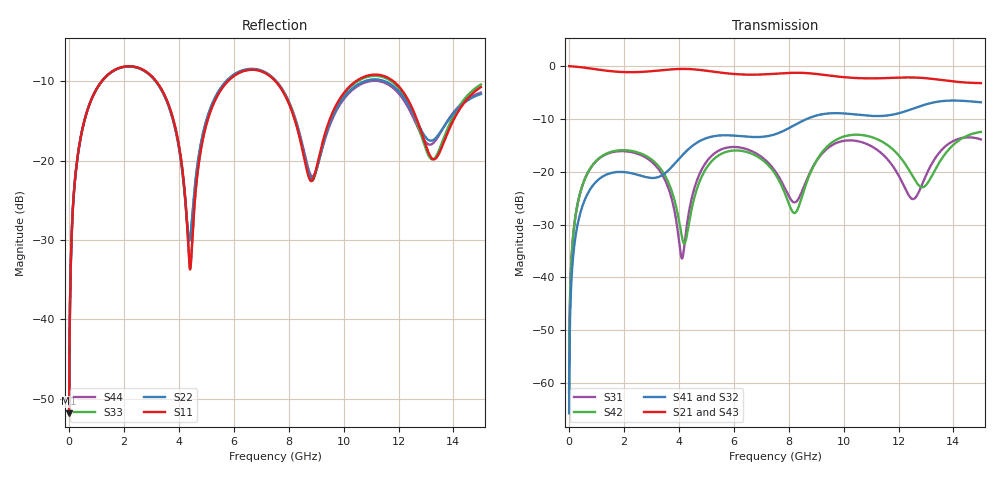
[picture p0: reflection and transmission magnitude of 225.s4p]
! Created with skrf 1.8.0 (http://scikit-rf.org).
# GHz S RI R 50.0
!freq ReS11 ImS11 ReS12 ImS12 ReS13 ImS13
! ReS14 ImS14
! ReS21 ImS21 ReS22 ImS22 ReS23 ImS23
! ReS24 ImS24
! ReS31 ImS31 ReS32 ImS32 ReS33 ImS33
! ReS34 ImS34
! ReS41 ImS41 ReS42 ImS42 ReS43 ImS43
! ReS44 ImS44
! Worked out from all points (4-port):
!   2499 points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, 5 MHz to 15 GHz, reference 50 ohm
!   strongest paths, dB at 5 MHz, 3.476 GHz, 7.19 GHz, 11.1 GHz, 15 GHz:
!     S21: 0.0, -0.7, -1.5, -2.3, -3.2
!     S43: 0.0, -0.7, -1.6, -2.3, -3.3
!     S41: -65.7, -20.4, -13.3, -9.4, -6.8
!     S32: -65.7, -20.4, -13.3, -9.4, -6.9
!     S42: -61.8, -20.5, -18.4, -13.6, -12.5
!     S31: -61.8, -21.3, -18.0, -15.4, -13.9
!   lowest |S11| = -51.9 dB at 5 MHz (marker M1), VSWR 1.01, Z = 50.2 + j0.155 ohm
!   |S11| at or under -10 dB: 3.17 GHz to 5.788 GHz (2.618 GHz wide, 58.4 % of centre); 7.513 GHz to 10.45 GHz (2.939 GHz wide, 32.7 % of centre); 11.81 GHz to end of sweep (the widest 3 of 4)
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0.005  0.00203 0.00154  0.9979 -0.00396  0.000104 0.00081  -0.000101 -0.000508
       0.9979 -0.00396  0.00203 0.00154  -0.000101 -0.000508  0.000104 0.00081
       0.000104 0.00081  -0.000101 -0.000508  0.00203 0.00154  0.9979 -0.00396
       -0.000101 -0.000508  0.000104 0.00081  0.9979 -0.00396  0.00203 0.00154
0.3126303  0.0347 0.0993  0.9524 -0.2437  0.0161 0.0468  -0.0136 -0.0285
           0.9524 -0.2437  0.0346 0.0993  -0.0136 -0.0285  0.0167 0.0466
           0.0161 0.0468  -0.0136 -0.0285  0.0347 0.0993  0.9524 -0.2437
           -0.0136 -0.0285  0.0167 0.0466  0.9524 -0.2437  0.0346 0.0993
1.3193  0.2884 0.1694  0.5111 -0.7495  0.1318 0.0603  -0.0928 0.000202
        0.5111 -0.7495  0.2865 0.1707  -0.0928 0.000173  0.137 0.0526
        0.1318 0.0603  -0.0928 0.000173  0.2884 0.1694  0.511 -0.7495
        -0.0928 0.000202  0.137 0.0526  0.511 -0.7495  0.2865 0.1708
4.345561  0.0209 -0.0194  -0.932 -0.1059  0.021 0.0321  -0.014 0.1625
          -0.932 -0.1059  0.0316 -0.0115  -0.0144 0.1624  -0.0158 0.0254
          0.021 0.0321  -0.0144 0.1624  0.0212 -0.0197  -0.932 -0.1059
          -0.014 0.1625  -0.0158 0.0254  -0.932 -0.1059  0.0313 -0.0119
8.834931  0.0743 -0.00186  0.8417 0.1268  -0.017 0.1038  0.0411 -0.3266
          0.8417 0.1268  0.0766 -0.0087  0.043 -0.3265  0.002 0.1037
          -0.017 0.1038  0.043 -0.3265  0.0738 -0.00689  0.8415 0.1274
          0.0411 -0.3266  0.002 0.1037  0.8415 0.1274  0.0785 -0.0138
11.64235  0.317 -0.0934  -0.1176 -0.7622  0.0722 -0.1049  -0.3275 0.0985
          -0.1176 -0.7622  0.3002 -0.0662  -0.3283 0.0966  0.0734 -0.1595
          0.0722 -0.1049  -0.3283 0.0966  0.3101 -0.0915  -0.1214 -0.7641
          -0.3275 0.0985  0.0734 -0.1595  -0.1214 -0.7641  0.2921 -0.0678
15  0.2837 0.0607  -0.4278 0.5415  0.2023 -0.00186  0.4024 0.2115
    -0.4278 0.5415  0.2601 0.0321  0.3993 0.2139  0.2291 -0.064
    0.2023 -0.00186  0.3993 0.2139  0.295 0.0616  -0.4209 0.5428
    0.4024 0.2115  0.2291 -0.064  -0.4209 0.5428  0.2649 0.0383
